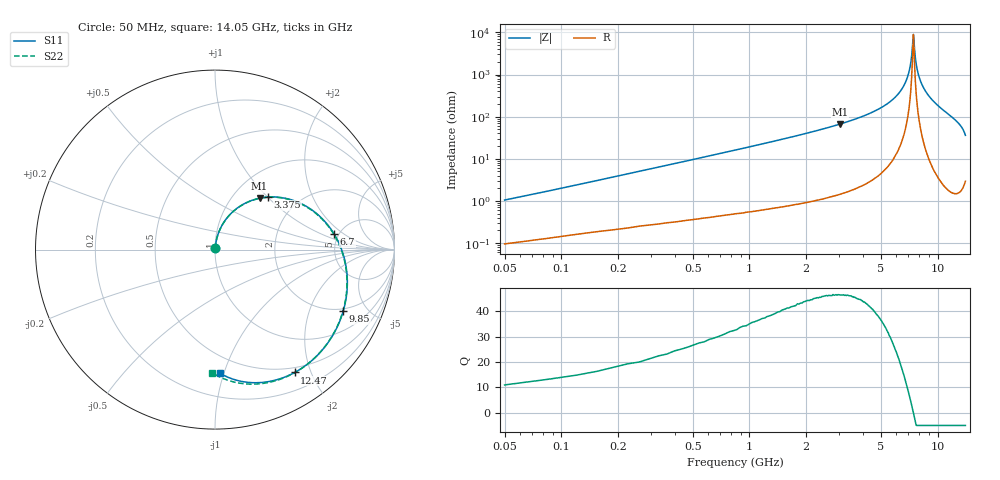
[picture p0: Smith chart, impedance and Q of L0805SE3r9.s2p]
! AVX Thin Film Operation		Date: May 2002
! Description: Accu-L® Series, Thin Film, SMD, RF Inductors
! Part Number: L08053R9CEWTR
! 50 MHz  -  14.05 GHz
! Serial Measurements
# mhz S db R 50
!	S11		S21		S12		S22
!	dB	Phase	dB	Phase	dB	Phase	dB	Phase
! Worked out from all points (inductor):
!   401 points, 50 MHz to 14.05 GHz, reference 50 ohm
!   read as 1/Y11, port 2 shorted: L = 3.12 nH near 120 MHz
!   highest Q = 46.4 at 3.025 GHz (marker M1), where L = 3.5 nH
!   self-resonance near 7.435 GHz
!   S11 on the Smith chart (normalised r, x): 50 MHz: 1.00, +0.02; 3.375 GHz: 1.42, +1.00; 6.7 GHz: 4.59, +1.43; 9.85 GHz: 1.87, -3.44; 12.47 GHz: 0.43, -1.76; 14.05 GHz: 0.37, -0.97
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50  -41.93 83.0  -0.01 -0.7  -0.01 -0.7  -41.93 83.0
190  -31.17 83.0  -0.02 -2.7  -0.02 -2.7  -31.17 83.0
295  -27.50 82.3  -0.03 -4.1  -0.03 -4.1  -27.50 82.3
470  -23.60 80.6  -0.05 -6.5  -0.05 -6.5  -23.60 80.5
680  -20.50 78.2  -0.08 -9.3  -0.08 -9.3  -20.50 78.1
995  -17.32 74.4  -0.13 -13.5  -0.13 -13.5  -17.32 74.3
1380  -14.61 69.5  -0.21 -18.6  -0.21 -18.6  -14.61 69.5
1835  -12.29 63.8  -0.33 -24.5  -0.33 -24.5  -12.29 63.7
2395  -10.19 56.8  -0.51 -31.7  -0.51 -31.7  -10.19 56.7
3025  -8.43 49.1  -0.76 -39.6  -0.76 -39.6  -8.43 48.9
3375  -7.64 44.8  -0.92 -43.9  -0.92 -43.9  -7.64 44.6
4740  -5.38 28.9  -1.60 -60.1  -1.60 -60.1  -5.38 28.6
6700  -3.48 7.4  -2.74 -81.8  -2.74 -81.8  -3.48 6.9
7050  -3.24 3.7  -2.95 -85.6  -2.95 -85.6  -3.24 3.2
8240  -2.60 -8.8  -3.65 -98.1  -3.65 -98.1  -2.60 -9.4
9395  -2.15 -20.8  -4.30 -110.3  -4.30 -110.3  -2.15 -21.6
9850  -2.02 -25.7  -4.53 -115.2  -4.53 -115.2  -2.02 -26.4
10830  -1.81 -36.4  -4.96 -126.1  -4.96 -126.1  -1.81 -37.4
11740  -1.72 -47.2  -5.19 -137.2  -5.19 -137.2  -1.72 -48.4
12475  -1.77 -57.0  -5.17 -147.5  -5.17 -147.5  -1.77 -58.6
13420  -2.20 -72.9  -4.56 -164.7  -4.56 -164.7  -2.21 -75.3
14050  -3.25 -87.8  -3.50 177.9  -3.50 177.9  -3.28 -91.4
